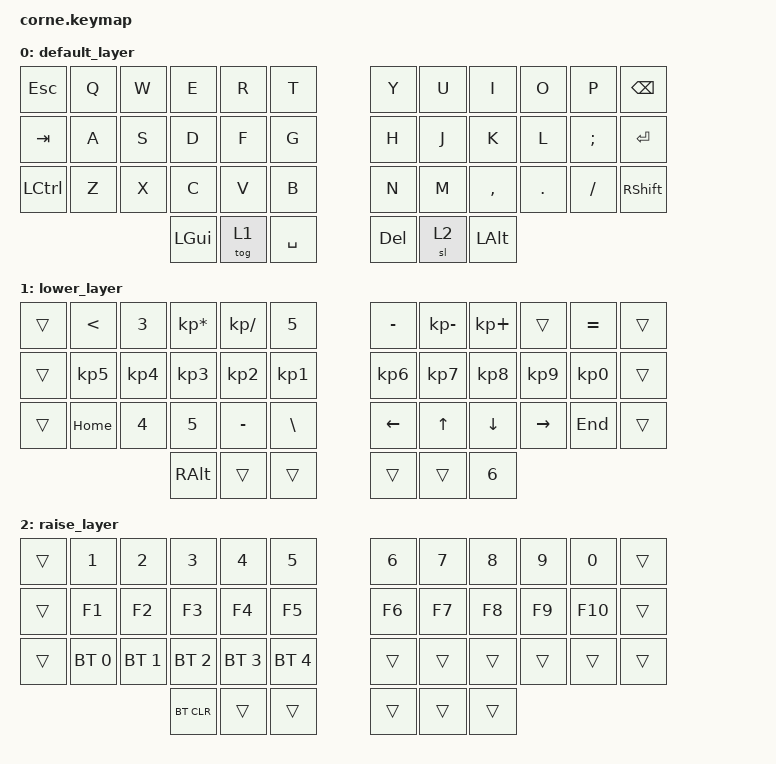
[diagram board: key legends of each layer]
/*
 * Copyright (c) 2020 The ZMK Contributors
 *
 * SPDX-License-Identifier: MIT
 */

#include <behaviors.dtsi>
#include <dt-bindings/zmk/keys.h>
#include <dt-bindings/zmk/bt.h>

/ {
        keymap {
                compatible = "zmk,keymap";

                default_layer {
                        bindings = <
   &kp ESC   &kp Q &kp W &kp E &kp R &kp T   &kp Y &kp U  &kp I     &kp O   &kp P    &kp BSPC
   &kp TAB   &kp A &kp S &kp D &kp F &kp G   &kp H &kp J  &kp K     &kp L   &kp SEMI &kp RET
   &kp LCTRL &kp Z &kp X &kp C &kp V &kp B   &kp N &kp M  &kp COMMA &kp DOT &kp FSLH &kp RSHFT
                  &kp LGUI &tog 1 &kp SPACE   &kp DEL &sl 2 &kp LALT
                        >;
                };
                lower_layer {
                        bindings = <
   &trans    &kp LT          &kp N3          &kp KP_MULTIPLY &kp KP_DIVIDE    &kp N5                        &kp MINUS     &kp KP_MINUS &kp KP_PLUS &trans       &kp EQUAL   &trans  
   &trans    &kp KP_N5       &kp KP_N4       &kp KP_N3       &kp KP_N2        &kp KP_N1                     &kp KP_N6     &kp KP_N7    &kp KP_N8   &kp KP_N9    &kp KP_N0   &trans
   &trans    &kp HOME        &kp N4          &kp N5          &kp MINUS        &kp BSLH                      &kp LEFT      &kp UP       &kp DOWN    &kp RIGHT    &kp END     &trans
                                             &kp RALT        &trans           &trans                        &trans        &trans       &kp N6
                        >;
                };

                raise_layer {
                        bindings = <
   &trans    &kp N1       &kp N2       &kp N3       &kp N4         &kp N5                &kp N6    &kp N7    &kp N8    &kp N9   &kp N0     &trans    
   &trans    &kp F1       &kp F2       &kp F3       &kp F4         &kp F5                &kp F6    &kp F7    &kp F8    &kp F9   &kp F10    &trans
   &trans    &bt BT_SEL 0 &bt BT_SEL 1 &bt BT_SEL 2 &bt BT_SEL 3   &bt BT_SEL 4          &trans    &trans    &trans    &trans   &trans     &trans
                                       &bt BT_CLR   &trans         &trans                &trans    &trans    &trans
                        >;
                };
        };
};
